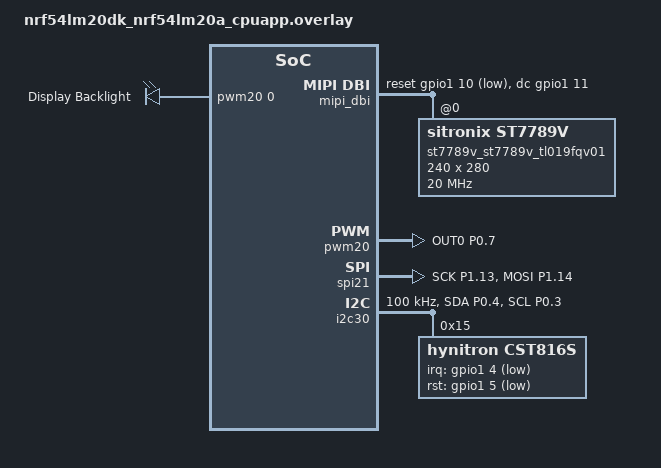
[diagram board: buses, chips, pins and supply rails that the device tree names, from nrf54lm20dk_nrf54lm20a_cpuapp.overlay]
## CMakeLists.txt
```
# SPDX-License-Identifier: Apache-2.0

cmake_minimum_required(VERSION 3.20.0)

find_package(Zephyr REQUIRED HINTS $ENV{ZEPHYR_BASE})
project(lvgl_swipe)

FILE(GLOB app_sources src/*.c)
target_sources(app PRIVATE ${app_sources})
```

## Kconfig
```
menu "Zephyr Kernel"
    source "Kconfig.zephyr"
endmenu

menu "Touchscreen Configuration"

    config LOGGING_SWIPES_ONLY
        bool "Don't show screens and only log swipes"
        default n
        help
            This is a way to test the touch capabilities of the screen without specific screen sipes or button presses.


    config LOG_GESTURES_ONLY
        bool "Don't show screens but log when a geeature is detected"
        default n
        help
            This is a way to test the touch capabilities of the screen without specific screen sipes or button presses.

endmenu
```

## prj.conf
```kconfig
CONFIG_LV_Z_MEM_POOL_SIZE=16384
CONFIG_LV_Z_SHELL=y
CONFIG_MAIN_STACK_SIZE=8192

CONFIG_DISPLAY=y
CONFIG_DISPLAY_LOG_LEVEL_INF=y

CONFIG_LOG=y
CONFIG_SHELL=y

#CONFIG_PM_DEVICE=y
#CONFIG_PM_DEVICE_RUNTIME=y

CONFIG_LVGL=y
#CONFIG_LV_MEM_CUSTOM=y
CONFIG_LV_USE_LOG=y
CONFIG_LV_USE_LABEL=y
#CONFIG_LV_USE_BTN=y
CONFIG_LV_USE_ARC=y
#CONFIG_LV_USE_IMG=y
CONFIG_LV_USE_MONKEY=y
CONFIG_LV_FONT_MONTSERRAT_16=y

# added for color display
CONFIG_LV_COLOR_16_SWAP=y
CONFIG_LV_COLOR_DEPTH_16=y

# added for input
CONFIG_LV_Z_POINTER_INPUT=y

#input pointer
CONFIG_LV_Z_POINTER_INPUT_MSGQ_COUNT=200

#added to get touch working
CONFIG_I2C=y
CONFIG_I2C_SHELL=y
CONFIG_SPI=y
CONFIG_INPUT=y
CONFIG_GPIO_SHELL=y
CONFIG_DEVICE_SHELL=y


# Test with polling
#CONFIG_INPUT_CST816S_INTERRUPT=y

CONFIG_LOGGING_SWIPES_ONLY=n
CONFIG_LOG_GESTURES_ONLY=n


#Gemini told me to add these
# Display Drivers
CONFIG_MIPI_DBI=y
CONFIG_ST7789V=y

# Touch Controller Driver
CONFIG_INPUT_CST816S=y
CONFIG_I2C_LOG_LEVEL_DBG=y
CONFIG_INPUT_LOG_LEVEL_DBG=y


CONFIG_PWM=y
CONFIG_LED=y
CONFIG_LED_PWM=y
```

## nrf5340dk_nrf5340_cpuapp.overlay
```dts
&pinctrl {

    spi4_default: spi4_default {
        group1 {
            psels = <NRF_PSEL(SPIM_SCK, 0, 6)>,
                <NRF_PSEL(SPIM_MOSI, 0, 25)>;
        };
    };

    spi4_sleep: spi4_sleep {
        group1 {
            psels = <NRF_PSEL(SPIM_SCK, 0, 6)>,
                <NRF_PSEL(SPIM_MOSI, 0, 25)>;
            low-power-enable;
        };
    };

    // Set to I2C pins that the touch screen is connected to
    i2c2_default: i2c2_default {
        group1 {
            psels = <NRF_PSEL(TWIM_SDA, 1, 2)>,
                <NRF_PSEL(TWIM_SCL, 1, 3)>;
        };
    };

    i2c2_sleep: i2c2_sleep {
        group1 {
            psels = <NRF_PSEL(TWIM_SDA, 1, 2)>,
                <NRF_PSEL(TWIM_SCL, 1, 3)>;
            low-power-enable;
        };
    };
};

&spi4 {
	compatible = "nordic,nrf-spim";
	status = "okay";
	pinctrl-0 = <&spi4_default>;
	pinctrl-1 = <&spi4_sleep>;
    pinctrl-names = "default", "sleep";
	cs-gpios = <&gpio0 11 GPIO_ACTIVE_LOW>;

    st7789v_st7789v_tl019fqv01: st7789v@0 {
        compatible = "sitronix,st7789v";
        spi-max-frequency = <20000000>;
        reg = <0>;
        cmd-data-gpios = < &gpio1 11 GPIO_ACTIVE_LOW>;
        reset-gpios = < &gpio1 10 GPIO_ACTIVE_LOW>;
        width = <240>;
        height = <280>;
        x-offset = <0>;
        y-offset = <20>;
        vcom = <0x19>;
        gctrl = <0x35>;
        vrhs = <0x12>;
        vdvs = <0x20>;
        mdac = <0x00>;
        gamma = <0x01>;
        colmod = <0x05>;
        lcm = <0x2c>;
        porch-param = [0c 0c 00 33 33];
        cmd2en-param = [5a 69 02 01];
        pwctrl1-param = [a4 a1];
        pvgam-param = [D0 04 0D 11 13 2B 3F 54 4C 18 0D 0B 1F 23];
        nvgam-param = [D0 04 0C 11 13 2C 3F 44 51 2F 1F 1F 20 23];
        ram-param = [00 F0];
        rgb-param = [CD 08 14];
	};
};

&i2c3 {
    compatible = "nordic,nrf-twim";
    status = "okay";
    clock-frequency = <I2C_BITRATE_FAST>;
    pinctrl-0 = <&i2c2_default>;
    pinctrl-1 = <&i2c2_sleep>;
    pinctrl-names = "default", "sleep";

    cst816s: cst816s@15 {
        compatible = "hynitron,cst816s";
        reg = <0x15>;
        irq-gpios = <&gpio1 4 GPIO_ACTIVE_LOW>;
        rst-gpios = <&gpio0 20 GPIO_ACTIVE_LOW>;
    };
};

/ {
    chosen {
        zephyr,display = &st7789v_st7789v_tl019fqv01;
        zephyr,keyboard-scan = &cst816s;
    };

    lvgl_pointer_input: lvgl_pointer {
        compatible = "zephyr,lvgl-pointer-input";
        input = <&cst816s>;
        //swap-xy;
        //invert-x;
    };

    aliases {
        input = &cst816s;
    };
};
```

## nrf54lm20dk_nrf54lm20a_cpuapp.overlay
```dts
&pinctrl {
    /* Backlight PWM Pin */
    pwm20_default: pwm20_default {
        group1 {
            psels = <NRF_PSEL(PWM_OUT0, 0, 7)>; 
        };
    };

    pwm20_sleep: pwm20_sleep {
        group1 {
            psels = <NRF_PSEL(PWM_OUT0, 0, 7)>;
            low-power-enable;
        };
    };

    /* Display SPI Pins - Switched to SPI21 to avoid UART collision */
    spi21_default: spi21_default {
        group1 {
            psels = <NRF_PSEL(SPIM_SCK, 1, 13)>,
                    <NRF_PSEL(SPIM_MOSI, 1, 14)>;
        };
    };

    spi21_sleep: spi21_sleep {
        group1 {
            psels = <NRF_PSEL(SPIM_SCK, 1, 13)>,
                    <NRF_PSEL(SPIM_MOSI, 1, 14)>;
            low-power-enable;
        };
    };

    /* Touch Controller I2C Pins */
    i2c30_default: i2c30_default {
        group1 {
            psels = <NRF_PSEL(TWIM_SDA, 0, 4)>,
                    <NRF_PSEL(TWIM_SCL, 0, 3)>;
            bias-pull-up;
        };
    };

    i2c30_sleep: i2c30_sleep {
        group1 {
            psels = <NRF_PSEL(TWIM_SDA, 0, 4)>,
                    <NRF_PSEL(TWIM_SCL, 0, 3)>;
            low-power-enable;
            bias-pull-up;
        };
    };
};

&pwm20 {
    status = "okay";
    pinctrl-0 = <&pwm20_default>;
    pinctrl-1 = <&pwm20_sleep>;
    pinctrl-names = "default", "sleep";
};

/* Switched from &spi20 to &spi21 */
&spi21 {
    compatible = "nordic,nrf-spim";
    status = "okay";
    pinctrl-0 = <&spi21_default>;
    pinctrl-1 = <&spi21_sleep>;
    pinctrl-names = "default", "sleep";
    cs-gpios = <&gpio1 15 GPIO_ACTIVE_LOW>;
};

&i2c30 {
    compatible = "nordic,nrf-twim";
    status = "okay";
    clock-frequency = <I2C_BITRATE_STANDARD>;
    pinctrl-0 = <&i2c30_default>;
    pinctrl-1 = <&i2c30_sleep>;
    pinctrl-names = "default", "sleep";

    cst816s: cst816s@15 {
        compatible = "hynitron,cst816s";
        reg = <0x15>;
        irq-gpios = <&gpio1 4 GPIO_ACTIVE_LOW>;
        rst-gpios = <&gpio1 5 GPIO_ACTIVE_LOW>;
    };
};

&nfct {
    status = "disabled";
};


&uicr {
    nfct-pins-as-gpios;
};

&spi00 { status = "disabled"; }; 

/ {

    chosen {
        zephyr,display = &st7789v_st7789v_tl019fqv01;
        zephyr,keyboard-scan = &cst816s;
    };

    mipi_dbi {
        compatible = "zephyr,mipi-dbi-spi";
        spi-dev = <&spi21>; /* Tell MIPI to use the new SPI21 block */
        dc-gpios = <&gpio1 11 GPIO_ACTIVE_HIGH>;
        reset-gpios =  <&gpio1 10 GPIO_ACTIVE_LOW>;
        write-only;
        #address-cells = <1>;
        #size-cells = <0>;
        
        st7789v_st7789v_tl019fqv01: st7789v@0 {
            compatible = "sitronix,st7789v";
            mipi-max-frequency = <20000000>;
            reg = <0>;
            width = <240>;
            height = <280>;
            x-offset = <0>;
            y-offset = <20>;
            vcom = <0x19>;
            gctrl = <0x35>;
            vrhs = <0x12>;
            vdvs = <0x20>;
            mdac = <0x00>;
            gamma = <0x01>;
            colmod = <0x05>;
            lcm = <0x2c>;
            porch-param = [0c 0c 00 33 33];
            cmd2en-param = [5a 69 02 01];
            pwctrl1-param = [a4 a1];
            pvgam-param = [D0 04 0D 11 13 2B 3F 54 4C 18 0D 0B 1F 23];
            nvgam-param = [D0 04 0C 11 13 2C 3F 44 51 2F 1F 1F 20 23];
            ram-param = [00 F0];
            rgb-param = [CD 08 14];
            mipi-mode = "MIPI_DBI_MODE_SPI_4WIRE";
        };
    };

    lvgl_pointer_input: lvgl_pointer {
        compatible = "zephyr,lvgl-pointer-input";
        input = <&cst816s>;
    };

    aliases {
        input = &cst816s;
        pwm-led0 = &display_blk;
    };

    pwmleds {
        compatible = "pwm-leds";
        display_blk: pwm_led_0 {
            pwms = <&pwm20 0 PWM_USEC(15) PWM_POLARITY_NORMAL>;
            label = "Display Backlight";
        };
    };
};
```

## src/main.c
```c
#include <zephyr/device.h>
#include <zephyr/devicetree.h>
#include <zephyr/drivers/display.h>
#include <zephyr/drivers/gpio.h>
#include <zephyr/input/input.h>
#include <lvgl.h>
#include <stdio.h>
#include <string.h>
#include <zephyr/kernel.h>
#include <lvgl_input_device.h>
#include <zephyr/drivers/led.h>

#define LOG_LEVEL CONFIG_LOG_DEFAULT_LEVEL
#include <zephyr/logging/log.h>
LOG_MODULE_REGISTER(app, LOG_LEVEL_DBG);

#define CANVAS_WIDTH  240
#define CANVAS_HEIGHT  280

static int last_x = -1;
static int last_y = -1; 


//screens
static  lv_obj_t *scr_home;
static  lv_obj_t *scr_left;
static  lv_obj_t *scr_right;
static  lv_obj_t *scr_top;
static  lv_obj_t *scr_bottom;

int create_screen_home();
int create_screen_left();
int create_screen_right();
int create_screen_top();
int create_screen_bottom();
int create_screen_test();

static void lv_btn_click_callback_left(lv_event_t *e);
static void lv_btn_click_callback_right(lv_event_t *e);
static void lv_btn_click_callback_top(lv_event_t *e);
static void lv_btn_click_callback_bottom(lv_event_t *e);

//events
static void on_lvgl_screen_gesture_event_callback(lv_event_t *e);
static void on_input_subsys_callback(struct input_event *evt);

int main(void)
{
	LOG_DBG("Starting lvgl test");
	const struct device *display_dev;

	#if CONFIG_LOG_GESTURES_ONLY==1
	LOG_DBG("LOG_GESTURES_ONLY enabled");
	#else
	LOG_DBG("LOG_GESTURES_ONLY disabled");
	#endif
	#if CONFIG_LOGGING_SWIPES_ONLY==1
	LOG_DBG("CONFIG_LOGGING_SWIPES_ONLY enabled");
	#else
	LOG_DBG("CONFIG_LOGGING_SWIPES_ONLY disabled");
	#endif

	/* Turn on the display backlight */
	const struct device *backlight = DEVICE_DT_GET_ANY(pwm_leds);
	if (device_is_ready(backlight)) {
		led_set_brightness(backlight, 0, 100);  /* 100% brightness */
	} else {
		LOG_ERR("Backlight device not ready");
	}

	display_dev = DEVICE_DT_GET(DT_CHOSEN(zephyr_display));
	if (!device_is_ready(display_dev)) {
		LOG_ERR("Device not ready, aborting test");
		return 0;
	}

	//INPUT_CALLBACK_DEFINE(NULL, on_input_subsys_callback);

#if CONFIG_LOGGING_SWIPES_ONLY
	create_screen_test();
#else
	create_screen_home();
#endif
	lv_task_handler();
	display_blanking_off(display_dev);

	
	while (1) {
		lv_task_handler();
		//k_sleep(K_MSEC(10));
		k_sleep(K_MSEC(250));
	}
	
}

static void handle_screen_gesture(lv_dir_t event_code)
{
        switch (event_code) {
            case LV_DIR_LEFT: {
				LOG_DBG("LEFT gesture detected");
				#if COFIG_LOG_GESTURES_ONLY==0
				create_screen_left();
				#endif
                break;
            }
            case LV_DIR_RIGHT: {
				LOG_DBG("RIGHT gesture detected");
				#if CONFIG_LOG_GESTURES_ONLY==0
				create_screen_right();
				#endif
                break;
            }
            case LV_DIR_TOP: {
				LOG_DBG("TOP gesture detected");
				#if CONFIG_LOG_GESTURES_ONLY==0
				create_screen_top();
				#endif
                break;
            }
            case LV_DIR_BOTTOM: {
				LOG_DBG("BOTTOM gesture detected");
				#if CONFIG_LOG_GESTURES_ONLY==0
      			create_screen_bottom();
				#endif
                break;
            }
            default:
                LOG_ERR("Not a valid gesture code: %d", event_code);
        }

}

static void lv_btn_click_callback_left(lv_event_t *e)
{
	LOG_DBG("Button press left");
	ARG_UNUSED(e);
	lv_obj_del(scr_left);
	create_screen_home();
}

static void lv_btn_click_callback_right(lv_event_t *e)
{
	LOG_DBG("Button press right");
	ARG_UNUSED(e);
	lv_obj_del(scr_right);
	create_screen_home();
}

static void lv_btn_click_callback_top(lv_event_t *e)
{
	LOG_DBG("Button press top");
	ARG_UNUSED(e);
	lv_obj_del(scr_top);
	create_screen_home();
}

static void lv_btn_click_callback_bottom(lv_event_t *e)
{
	LOG_DBG("Button press bottom");
	ARG_UNUSED(e);
	lv_obj_del(scr_bottom);
	create_screen_home();
}

int create_screen_home()
{
	LOG_DBG("Creating home screen");
	scr_home = lv_obj_create(NULL);
	// Used this function as it automatically deletes previous screen.
	// Should work as you did also I think. But have not used lv_scr_load_xxx before
  	lv_scr_load_anim(scr_home, LV_SCR_LOAD_ANIM_NONE, 0, 0, true);

	lv_obj_t *hello_world_label;

	lv_obj_set_style_bg_color(lv_scr_act(), lv_palette_main(LV_PALETTE_GREEN), LV_PART_MAIN);
	lv_obj_set_style_text_color(lv_scr_act(), lv_color_white(), LV_PART_MAIN);

	hello_world_label = lv_label_create(lv_scr_act());

	lv_label_set_text(hello_world_label, "Swipe to test!");
	lv_obj_align(hello_world_label, LV_ALIGN_CENTER, 0, 0);
	lv_obj_set_style_text_font(hello_world_label, &lv_font_montserrat_16, LV_PART_MAIN);


	lv_obj_add_event_cb(lv_scr_act(), on_lvgl_screen_gesture_event_callback, LV_EVENT_GESTURE, NULL);

	return 0;
}

int create_screen_left()
{
	LOG_DBG("Creating left screen");
	scr_left = lv_obj_create(NULL);
	// Used this function as it automatically deletes previous screen.
	// Should work as you did also I think. But have not used lv_scr_load_xxx before
  	lv_scr_load_anim(scr_left, LV_SCR_LOAD_ANIM_NONE, 0, 0, true);

	lv_obj_set_style_bg_color(lv_scr_act(), lv_color_black(), LV_PART_MAIN);
	lv_obj_set_style_text_color(lv_scr_act(), lv_color_white(), LV_PART_MAIN);

	lv_obj_t *label = lv_label_create(lv_scr_act());

	if (IS_ENABLED(CONFIG_LV_Z_POINTER_KSCAN) || IS_ENABLED(CONFIG_LV_Z_POINTER_INPUT)) {
		lv_obj_t *home_button;

		home_button = lv_btn_create(lv_scr_act());
		lv_obj_align(home_button, LV_ALIGN_CENTER, 0, 0);
		lv_obj_add_event_cb(home_button, lv_btn_click_callback_left, LV_EVENT_CLICKED,
						NULL);
		label = lv_label_create(home_button);
	} else {
		label = lv_label_create(lv_scr_act());
	}


	lv_label_set_text(label, "LV_DIR_LEFT (1)");
	lv_obj_align(label, LV_ALIGN_CENTER, 0, 0);
	lv_obj_set_style_text_font(label, &lv_font_montserrat_16, LV_PART_MAIN);

	return 0;
}

int create_screen_right()
{
	LOG_DBG("Creating right screen");
	scr_right = lv_obj_create(NULL);
	// Used this function as it automatically deletes previous screen.
	// Should work as you did also I think. But have not used lv_scr_load_xxx before
  	lv_scr_load_anim(scr_right, LV_SCR_LOAD_ANIM_NONE, 0, 0, true);

	lv_obj_set_style_bg_color(lv_scr_act(), lv_color_black(), LV_PART_MAIN);
	lv_obj_set_style_text_color(lv_scr_act(), lv_color_white(), LV_PART_MAIN);

	lv_obj_t *label = lv_label_create(lv_scr_act());

	if (IS_ENABLED(CONFIG_LV_Z_POINTER_KSCAN) || IS_ENABLED(CONFIG_LV_Z_POINTER_INPUT)) {
		lv_obj_t *home_button;

		home_button = lv_btn_create(lv_scr_act());
		lv_obj_align(home_button, LV_ALIGN_CENTER, 0, 0);
		lv_obj_add_event_cb(home_button, lv_btn_click_callback_right, LV_EVENT_CLICKED,
						NULL);
		label = lv_label_create(home_button);
	} else {
		label = lv_label_create(lv_scr_act());
	}

	lv_label_set_text(label, "LV_DIR_RIGHT (2)");
	lv_obj_align(label, LV_ALIGN_CENTER, 0, 0);
	lv_obj_set_style_text_font(label, &lv_font_montserrat_16, LV_PART_MAIN);

	return 0;
}

int create_screen_top()
{
	LOG_DBG("Creating top screen");
	scr_top = lv_obj_create(NULL);
	// Used this function as it automatically deletes previous screen.
	// Should work as you did also I think. But have not used lv_scr_load_xxx before
  	lv_scr_load_anim(scr_top, LV_SCR_LOAD_ANIM_NONE, 0, 0, true);

	lv_obj_set_style_bg_color(lv_scr_act(), lv_color_black(), LV_PART_MAIN);
	lv_obj_set_style_text_color(lv_scr_act(), lv_color_white(), LV_PART_MAIN);

	lv_obj_t *label = lv_label_create(lv_scr_act());

	if (IS_ENABLED(CONFIG_LV_Z_POINTER_KSCAN) || IS_ENABLED(CONFIG_LV_Z_POINTER_INPUT)) {
		lv_obj_t *home_button;

		home_button = lv_btn_create(lv_scr_act());
		lv_obj_align(home_button, LV_ALIGN_CENTER, 0, 0);
		lv_obj_add_event_cb(home_button, lv_btn_click_callback_top, LV_EVENT_CLICKED,
						NULL);
		label = lv_label_create(home_button);
	} else {
		label = lv_label_create(lv_scr_act());
	}

	lv_label_set_text(label, "LV_DIR_TOP (3)");
	lv_obj_align(label, LV_ALIGN_CENTER, 0, 0);
	lv_obj_set_style_text_font(label, &lv_font_montserrat_16, LV_PART_MAIN);

	return 0;
}

int create_screen_bottom()
{
	LOG_DBG("Creating bottom screen");
	scr_bottom = lv_obj_create(NULL);
	// Used this function as it automatically deletes previous screen.
	// Should work as you did also I think. But have not used lv_scr_load_xxx before
  	lv_scr_load_anim(scr_bottom, LV_SCR_LOAD_ANIM_NONE, 0, 0, true);

	lv_obj_set_style_bg_color(lv_scr_act(), lv_color_black(), LV_PART_MAIN);
	lv_obj_set_style_text_color(lv_scr_act(), lv_color_white(), LV_PART_MAIN);

	lv_obj_t *label = lv_label_create(lv_scr_act());

	if (IS_ENABLED(CONFIG_LV_Z_POINTER_KSCAN) || IS_ENABLED(CONFIG_LV_Z_POINTER_INPUT)) {
		lv_obj_t *home_button;

		home_button = lv_btn_create(lv_scr_act());
		lv_obj_align(home_button, LV_ALIGN_CENTER, 0, 0);
		lv_obj_add_event_cb(home_button, lv_btn_click_callback_bottom, LV_EVENT_CLICKED,
						NULL);
		label = lv_label_create(home_button);
	} else {
		label = lv_label_create(lv_scr_act());
	}

	lv_label_set_text(label, "LV_DIR_BOTTOM (4)");
	lv_obj_align(label, LV_ALIGN_CENTER, 0, 0);
	lv_obj_set_style_text_font(label, &lv_font_montserrat_16, LV_PART_MAIN);

	return 0;
}


static void on_input_subsys_callback(struct input_event *evt)
{
	LOG_DBG("input subsys type=%d,code=%d,value=%d", evt->type, evt->code, evt->value);
	lv_color_t c0;
    lv_color_t c1;

	c0 = lv_color_black();
    c1 = lv_color_white();
	
	//LOG_DBG("input subsys type,code,value,%d,%d,%d", evt->type, evt->code, evt->value);
	if (evt->code == INPUT_ABS_X) {
		last_x = evt->value;
	}
	if (evt->code == INPUT_ABS_Y) {
		last_y = evt->value;
	}
	if (last_x != -1 && last_y != -1) {
		//lv_canvas_set_px_color(canvas, last_x, last_y, c0);
		last_x = -1;
		last_y = -1;
	}
}

static void on_lvgl_screen_gesture_event_callback(lv_event_t *e)
{
	LOG_DBG("Gesture event detected %d", lv_event_get_code(e));
	#if CONFIG_LOGGING_SWIPES_ONLY==0
    lv_dir_t  dir;
    lv_event_code_t event = lv_event_get_code(e);
    if (event == LV_EVENT_GESTURE) {
        dir = lv_indev_get_gesture_dir(lv_indev_get_act());
        handle_screen_gesture(dir);
    }
	lv_indev_wait_release(lv_indev_get_act()); // Needed otherwise accidental button press will happen
	#endif
}

int create_screen_test()
{
	LOG_DBG("Creating test screen");
	scr_home = lv_obj_create(NULL);
	// Used this function as it automatically deletes previous screen.
	// Should work as you did also I think. But have not used lv_scr_load_xxx before
  	lv_scr_load_anim(scr_home, LV_SCR_LOAD_ANIM_NONE, 0, 0, true);

	lv_obj_t *hello_world_label;

	lv_obj_set_style_bg_color(lv_scr_act(), lv_palette_main(LV_PALETTE_LIGHT_BLUE), LV_PART_MAIN);
	lv_obj_set_style_text_color(lv_scr_act(), lv_color_white(), LV_PART_MAIN);

	hello_world_label = lv_label_create(lv_scr_act());

	lv_label_set_text(hello_world_label, "Swipe to test!");
	lv_obj_align(hello_world_label, LV_ALIGN_CENTER, 0, 0);
	lv_obj_set_style_text_font(hello_world_label, &lv_font_montserrat_16, LV_PART_MAIN);


	lv_obj_add_event_cb(lv_scr_act(), on_lvgl_screen_gesture_event_callback, LV_EVENT_GESTURE, NULL);

	return 0;

}
```
